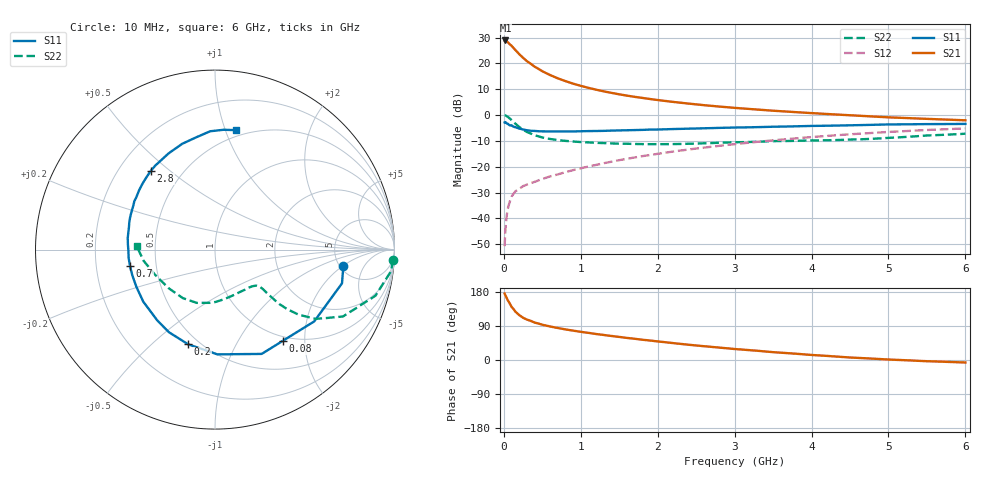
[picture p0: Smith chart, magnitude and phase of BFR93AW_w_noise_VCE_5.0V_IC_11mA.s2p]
! Infineon Technologies  Discrete & RF Semiconductors
! BFR93AW
! VCE =  5.0 V,  IC =  11 mA
! Common Emitter S-Parameters:  Jan 2017
# GHz  S  MA  R  50
!  f  S11  S21  S12  S22
! GHz  MAG  ANG  MAG  ANG  MAG  ANG  MAG  ANG
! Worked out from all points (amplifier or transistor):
!   77 points, 10 MHz to 6 GHz, reference 50 ohm
!   highest |S21| = 28.9 dB at 20 MHz (marker M1)
!   |S21| within 3 dB of that: start of sweep to 128.3 MHz
!   unconditionally stable (mu >= 1): 833.9 MHz to 2.099 GHz
!   at 130 MHz: K = 0.32, MSG = 28.1 dB, |S12| = -30.3 dB
!   at 2.2 GHz: K = 0.99, MSG = 9.6 dB, |S12| = -14.1 dB
!   at 6 GHz: K = 0.87, MSG = 1.6 dB, |S12| = -5.2 dB
!   lowest NFmin = 1.26 dB at 450 MHz
!   S11 on the Smith chart (normalised r, x): 10 MHz: 5.32, -2.09; 80 MHz: 0.92, -1.57; 200 MHz: 0.44, -0.66; 700 MHz: 0.35, -0.08; 2.8 GHz: 0.33, +0.43; 6 GHz: 0.44, +1.09
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0.01  0.721 -7.5  27.63 175.3  0.0029 81.0  0.9923 -3.3
0.02  0.7322 -14.9  27.87 170.9  0.0059 83.8  0.9889 -6.9
0.05  0.6824 -35.9  25.94 157.9  0.015 74.8  0.9305 -16.0
0.08  0.6333 -53.5  23.31 148.0  0.0217 66.9  0.8506 -22.6
0.1  0.6367 -65.9  22.01 140.3  0.0263 63.9  0.8045 -27.6
0.11  0.6187 -70.1  21.18 138.1  0.0277 62.0  0.7791 -28.8
0.15  0.5839 -88.7  18.2 127.6  0.0334 56.1  0.6817 -34.5
0.2  0.5483 -105.9  15.14 118.5  0.0373 53.9  0.5902 -37.9
0.25  0.527 -119.2  12.86 111.5  0.0421 51.9  0.5221 -39.5
0.3  0.5088 -129.3  11.08 106.6  0.0452 51.7  0.4714 -40.2
0.4  0.4938 -144.1  8.669 98.8  0.051 53.6  0.4076 -40.1
0.5  0.4846 -154.7  7.068 93.1  0.0579 55.4  0.3688 -39.8
0.7  0.4824 -169.0  5.16 84.5  0.0709 59.4  0.3284 -39.6
0.9  0.4826 -179.4  4.06 77.5  0.086 62.0  0.3082 -40.8
1.1  0.4904 172.5  3.369 71.6  0.1012 63.6  0.296 -43.3
1.5  0.5052 159.7  2.525 60.9  0.134 65.0  0.28 -51.0
2.1  0.5312 144.2  1.878 46.9  0.1872 63.7  0.2738 -67.8
2.8  0.5657 129.3  1.464 32.7  0.2538 59.7  0.2914 -89.2
3.1  0.5773 123.3  1.346 27.5  0.2838 57.2  0.2995 -97.9
4.1  0.6198 105.6  1.072 12.1  0.3853 47.5  0.3244 -126.9
5.1  0.6611 91.0  0.893 0.4  0.4802 35.9  0.3685 -160.2
6  0.6753 80.2  0.793 -6.6  0.5523 25.1  0.436 177.6
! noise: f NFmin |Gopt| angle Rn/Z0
0.45  1.26  0.12  111  0.13
0.9  1.57  0.23  157  0.14
1.9  2.62  0.47  -146  0.18
2.4  3.24  0.54  -130  0.37
